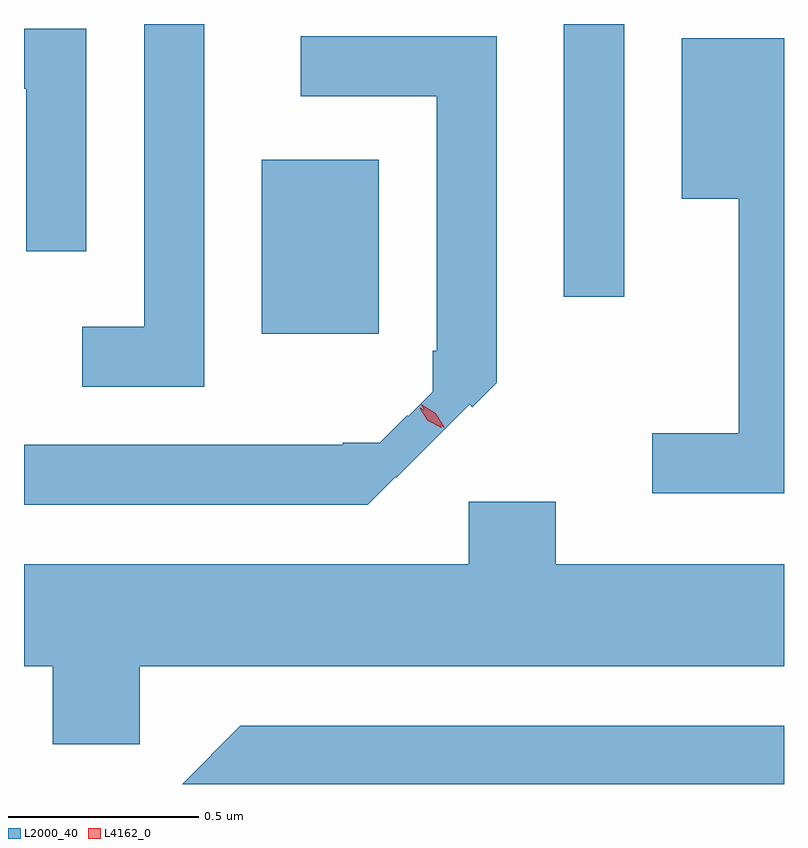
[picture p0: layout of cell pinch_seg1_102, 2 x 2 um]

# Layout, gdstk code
import gdstk
lib = gdstk.Library(unit=1e-6, precision=1e-09)
def R(c, l, rs):  # rectangles x0, y0, x1, y1
    for r in rs: c.add(gdstk.rectangle(r[:2], r[2:], *l))
def P(c, l, *ps):  # polygons
    for p in ps: c.add(gdstk.Polygon(p, *l))
L2000_40 = (2000, 40)
L4162_0 = (4162, 0)

pinch_seg1_102 = lib.new_cell('pinch_seg1_102')
R(pinch_seg1_102, L2000_40, [(212.981,869.371,213.289,869.829), (213.776,869.468,213.934,870.186)])
P(pinch_seg1_102, L2000_40, [(212.829,870.186),(212.671,870.186),(212.671,869.389),(212.508,869.389),(212.508,869.231),(212.829,869.231)],
  [(212.519,870.174),(212.355,870.174),(212.355,870.016),(212.361,870.016),(212.361,869.588),(212.519,869.588)],
  [(213.333,868.995),(213.335,868.992),(213.528,869.185),(213.535,869.178),(213.599,869.242),(213.599,870.154),(213.083,870.154),(213.083,869.996),(213.441,869.996),(213.441,869.326),(213.43,869.326),(213.43,869.218),(213.366,869.154),(213.364,869.157),(213.291,869.084),(213.194,869.084),(213.194,869.079),(212.355,869.079),(212.355,868.921),(213.259,868.921)],
  [(214.355,870.149),(214.086,870.149),(214.086,869.726),(214.236,869.726),(214.236,869.109),(214.008,869.109),(214.008,868.951),(214.355,868.951)],
  [(212.659,868.496),(214.355,868.496),(214.355,868.764),(213.754,868.764),(213.754,868.929),(213.526,868.929),(213.526,868.764),(212.355,868.764),(212.355,868.496),(212.431,868.496),(212.431,868.291),(212.659,868.291)],
  [(214.355,868.339),(212.924,868.339),(212.771,868.186),(214.355,868.186)])
P(pinch_seg1_102, L4162_0, [(213.462,869.123),(213.424,869.148),(213.399,869.186),(213.399,869.186),(213.4,869.186),(213.438,869.162),(213.462,869.124),(213.462,869.123)],
  [(213.453,869.123),(213.418,869.142),(213.397,869.175),(213.397,869.176),(213.398,869.176),(213.432,869.156),(213.454,869.123),(213.454,869.123)])

lib.write_gds('pinch_seg1_102.gds')
